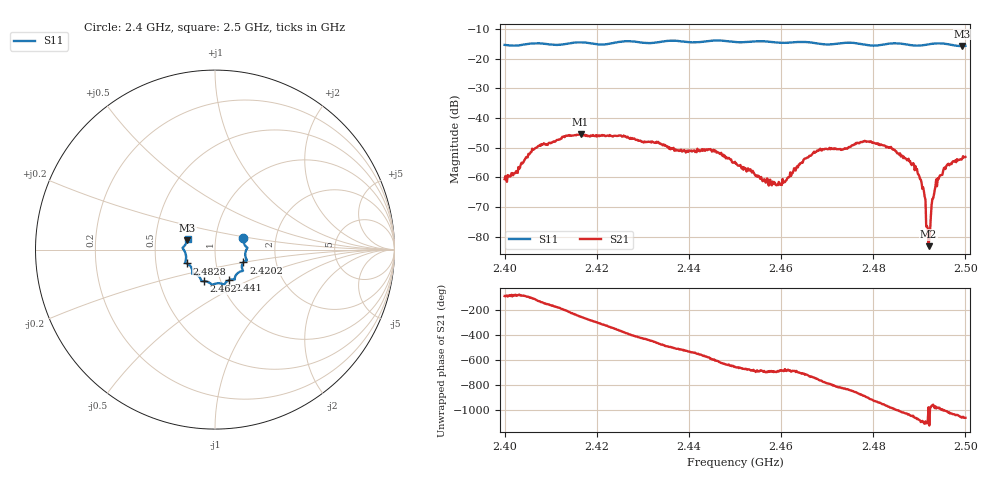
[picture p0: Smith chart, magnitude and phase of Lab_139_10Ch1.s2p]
# Hz S RI R 50
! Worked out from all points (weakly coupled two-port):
!   601 points, 2.4 GHz to 2.5 GHz, reference 50 ohm
!   highest |S21| = -45.49 dB at 2.4165 GHz (marker M1); lowest = -83.1 dB at 2.492 GHz (marker M2)
!   lowest |S11| = -15.8 dB at 2.4993 GHz (marker M3), VSWR 1.39, Z = 36.5 + j3.86 ohm
!   |S11| at or under -10 dB: start of sweep to end of sweep
!   S12 and S22 are empty: the file has one direction only
!   S11 on the Smith chart (normalised r, x): 2.4 GHz: 1.36, +0.18; 2.4202 GHz: 1.36, -0.20; 2.441 GHz: 1.10, -0.39; 2.462 GHz: 0.84, -0.30; 2.4828 GHz: 0.72, -0.11; 2.5 GHz: 0.73, +0.09
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2.4e9  0.158 0.0625  7.12e-05 -0.000932  0 0  0 0
2.407167e9  0.1808 0.00947  -0.00177 -0.00277  0 0  0 0
2.4165e9  0.178 -0.0603  -0.00167 0.00505  0 0  0 0
2.416667e9  0.1777 -0.0604  -0.00146 0.00506  0 0  0 0
2.420167e9  0.1582 -0.0713  0.00252 0.00441  0 0  0 0
2.433333e9  0.112 -0.1512  -0.00105 -0.00383  0 0  0 0
2.441e9  0.0784 -0.1697  -0.0028 -1.03e-05  0 0  0 0
2.45e9  0.0285 -0.1877  0.000749 0.00167  0 0  0 0
2.458333e9  -0.0274 -0.1871  0.000716 0.0003  0 0  0 0
2.462e9  -0.0605 -0.1758  0.000967 0.000733  0 0  0 0
2.466667e9  -0.0785 -0.1682  0.00234 -0.000585  0 0  0 0
2.477833e9  -0.1269 -0.1168  -0.00395 -0.00086  0 0  0 0
2.482833e9  -0.1573 -0.0771  -0.0012 0.00297  0 0  0 0
2.483333e9  -0.1606 -0.0757  -0.000809 0.00305  0 0  0 0
2.489667e9  -0.1625 -0.028  0.00114 0.000153  0 0  0 0
2.490833e9  -0.1673 -0.0132  0.000658 -0.000176  0 0  0 0
2.492e9  -0.1735 -0.00184  -1.3e-05 6.84e-05  0 0  0 0
2.493167e9  -0.1787 0.00557  -0.000168 0.000482  0 0  0 0
2.494e9  -0.1802 0.00885  -0.000128 0.00096  0 0  0 0
2.495833e9  -0.1755 0.0157  0.00055 0.00144  0 0  0 0
2.499333e9  -0.1539 0.0515  0.00195 0.000758  0 0  0 0
2.5e9  -0.1521 0.061  0.00213 0.000585  0 0  0 0
